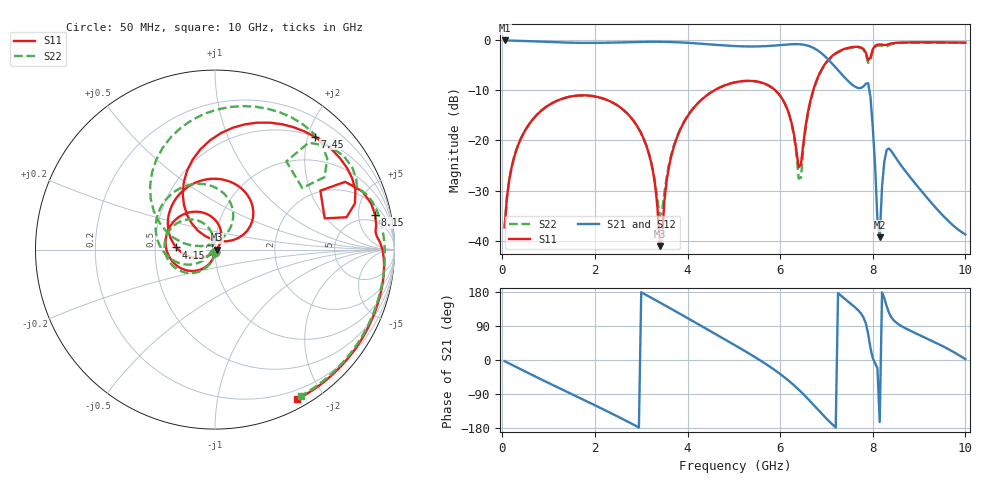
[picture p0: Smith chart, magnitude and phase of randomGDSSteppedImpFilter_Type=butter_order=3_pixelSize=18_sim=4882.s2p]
! freq	dB(S11)	phase(S11)	dB(S12)	phase(S12)
!  dB(S21)	phase(S21)	dB(S22)	phase(S22)
!S-par simulation data
#  GHz  S  DB  R 50
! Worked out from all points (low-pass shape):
!   200 points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, 50 MHz to 10 GHz, reference 50 ohm
!   highest |S21| = 0.00 dB at 50 MHz (marker M1); lowest = -39.4 dB at 8.15 GHz (marker M2)
!   |S21| within 3 dB of the highest: start of sweep to 6.947 GHz
!   lowest |S11| = -41.1 dB at 3.4 GHz (marker M3), VSWR 1.02, Z = 50.9 - j0.00473 ohm
!   |S11| at or under -10 dB: start of sweep to 4.576 GHz; 5.898 GHz to 6.713 GHz (814.5 MHz wide, 12.9 % of centre)
!   |S22| runs from -37.4 to -0.4 dB; largest |S21 - S12| = 0
!   S11 on the Smith chart (normalised r, x): 50 MHz: 1.00, -0.03; 4.15 GHz: 0.64, +0.02; 7.45 GHz: 0.50, +2.12; 8.15 GHz: 3.39, +7.90; 10 GHz: 0.10, -1.68
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0.05  -37.38 -93.4  -0.00 -3.1  -0.00 -3.1  -37.38 -93.0
0.2  -25.41 -103.6  -0.03 -12.4  -0.03 -12.4  -25.40 -102.2
0.5  -17.88 -123.3  -0.12 -30.7  -0.12 -30.7  -17.88 -119.8
1.75  -10.97 158.4  -0.49 -104.7  -0.49 -104.7  -10.97 171.3
3  -18.60 75.1  -0.29 178.6  -0.29 178.6  -18.59 105.0
3.25  -25.99 53.7  -0.27 162.1  -0.27 162.1  -25.77 100.2
3.4  -41.12 -0.3  -0.27 151.9  -0.27 151.9  -35.16 146.3
3.65  -23.09 -143.6  -0.32 134.8  -0.32 134.8  -22.75 -136.7
4.15  -13.30 176.7  -0.56 100.1  -0.56 100.1  -13.24 -160.4
5.05  -8.32 111.0  -1.13 37.2  -1.13 37.2  -8.33 142.1
6.05  -11.74 37.1  -0.89 -41.5  -0.89 -41.5  -11.79 68.4
6.4  -25.35 60.6  -0.75 -78.1  -0.75 -78.1  -27.61 81.8
6.7  -10.38 124.9  -1.41 -115.7  -1.41 -115.7  -10.66 159.2
7  -4.31 92.7  -3.46 -154.7  -3.46 -154.7  -4.47 123.2
7.45  -1.53 48.6  -7.96 155.9  -7.96 155.9  -1.64 74.1
7.9  -3.94 15.9  -8.54 69.3  -8.54 69.3  -4.50 35.2
8  -1.75 27.5  -17.37 4.8  -17.37 4.8  -2.03 48.8
8.15  -0.79 12.2  -39.38 -163.5  -39.38 -163.5  -1.00 30.7
8.25  -0.92 6.3  -24.18 162.9  -24.18 162.9  -1.26 24.1
8.35  -0.72 2.5  -21.60 124.6  -21.60 124.6  -0.94 20.2
9  -0.38 -27.6  -29.54 66.4  -29.54 66.4  -0.44 -17.3
10  -0.44 -61.3  -38.79 2.3  -38.79 2.3  -0.49 -59.7
